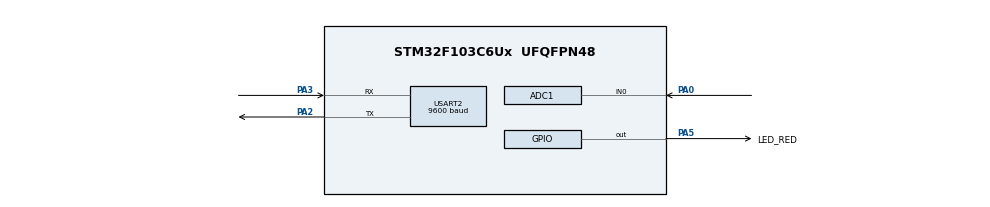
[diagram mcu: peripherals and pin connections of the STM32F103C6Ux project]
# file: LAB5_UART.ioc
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ADC1.Channel-0\#ChannelRegularConversion=ADC_CHANNEL_0
ADC1.ContinuousConvMode=ENABLE
ADC1.NbrOfConversionFlag=1
ADC1.Rank-0\#ChannelRegularConversion=1
ADC1.SamplingTime-0\#ChannelRegularConversion=ADC_SAMPLETIME_1CYCLE_5
ADC1.master=1
Mcu.Family=STM32F1
Mcu.Name=STM32F103C6Ux
Mcu.Package=UFQFPN48
NVIC.PriorityGroup=NVIC_PRIORITYGROUP_4
NVIC.TIM2_IRQn=true\:0\:0\:false\:false\:true\:true\:true
NVIC.USART2_IRQn=true\:0\:0\:false\:false\:true\:true\:true
PA0-WKUP.Signal=ADCx_IN0
PA2.Mode=Asynchronous
PA2.Signal=USART2_TX
PA3.Mode=Asynchronous
PA3.Signal=USART2_RX
PA5.GPIO_Label=LED_RED
PA5.Signal=GPIO_Output
ProjectManager.HeapSize=0x200
ProjectManager.StackSize=0x400
ProjectManager.TargetToolchain=STM32CubeIDE
RCC.APB1Freq_Value=8000000
RCC.APB2Freq_Value=8000000
SH.ADCx_IN0.0=ADC1_IN0,IN0
TIM2.Period=9
TIM2.Prescaler=7999
USART2.BaudRate=9600
USART2.VirtualMode=VM_ASYNC
VP_SYS_VS_ND.Mode=No_Debug
VP_TIM2_VS_ClockSourceINT.Mode=Internal
board=custom

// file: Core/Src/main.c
/* USER CODE BEGIN Header */
/**
  ******************************************************************************
  * @file           : main.c
  * @brief          : Main program body
  ******************************************************************************
  * @attention
  *
  * <h2><center>&copy; Copyright (c) 2025 STMicroelectronics.
  * All rights reserved.</center></h2>
  *
  * This software component is licensed by ST under BSD 3-Clause license,
  * the "License"; You may not use this file except in compliance with the
  * License. You may obtain a copy of the License at:
  *                        opensource.org/licenses/BSD-3-Clause
  *
  ******************************************************************************
  */
/* USER CODE END Header */

#include "main.h"

/* USER CODE BEGIN Includes */
#include "software_timer.h"
#include <global.h>
/* USER CODE END Includes */

ADC_HandleTypeDef hadc1;

TIM_HandleTypeDef htim2;

UART_HandleTypeDef huart2;

void SystemClock_Config(void);
static void MX_GPIO_Init(void);
static void MX_TIM2_Init(void);
static void MX_USART2_UART_Init(void);
static void MX_ADC1_Init(void);

/* USER CODE BEGIN 0 */
void HAL_UART_RxCpltCallback(UART_HandleTypeDef *huart)
{
	if (huart->Instance == USART2)
	{
		// Echo character back
		HAL_UART_Transmit(&huart2, &buffer_character, 1, 50);

		// Set flag to process command only if not already processing
		if (buffer_flag == 0) {
			buffer_flag = 1;
		}
		// Allow UART receive next character without waiting for callback
		HAL_UART_Receive_IT(&huart2, &buffer_character, 1);
	}
}
/* USER CODE END 0 */

int main(void)
{

  /* MCU Configuration--------------------------------------------------------*/

  /* Reset of all peripherals, Initializes the Flash interface and the Systick. */
  HAL_Init();

  /* Configure the system clock */
  SystemClock_Config();

  /* Initialize all configured peripherals */
  MX_GPIO_Init();
  MX_TIM2_Init();
  MX_USART2_UART_Init();
  MX_ADC1_Init();
  /* USER CODE BEGIN 2 */
  HAL_ADC_Start(&hadc1);
  HAL_UART_Receive_IT(&huart2, &buffer_character, 1);
  HAL_TIM_Base_Start_IT(&htim2);
  HAL_GPIO_WritePin(LED_RED_GPIO_Port, LED_RED_Pin, SET);
  setTimer(0,1);
  setTimer(1,1);
  /* USER CODE END 2 */

  /* Infinite loop */
  while (1)
  {
	  if (isTimeExpired(0)){
		  HAL_GPIO_TogglePin(LED_RED_GPIO_Port, LED_RED_Pin);
		  setTimer(0, 50);
	  }

	  if (buffer_flag == 1){
		  command_parser_fsm();
		  buffer_flag = 0;
	  }
	  uart_communication_fsm();
	  HAL_Delay(1);
  }
}

void SystemClock_Config(void)
{
  RCC_OscInitTypeDef RCC_OscInitStruct = {0};
  RCC_ClkInitTypeDef RCC_ClkInitStruct = {0};
  RCC_PeriphCLKInitTypeDef PeriphClkInit = {0};

  /** Initializes the RCC Oscillators according to the specified parameters
  * in the RCC_OscInitTypeDef structure.
  */
  RCC_OscInitStruct.OscillatorType = RCC_OSCILLATORTYPE_HSI;
  RCC_OscInitStruct.HSIState = RCC_HSI_ON;
  RCC_OscInitStruct.HSICalibrationValue = RCC_HSICALIBRATION_DEFAULT;
  RCC_OscInitStruct.PLL.PLLState = RCC_PLL_NONE;
  if (HAL_RCC_OscConfig(&RCC_OscInitStruct) != HAL_OK)
  {
    Error_Handler();
  }
  /** Initializes the CPU, AHB and APB buses clocks
  */
  RCC_ClkInitStruct.ClockType = RCC_CLOCKTYPE_HCLK|RCC_CLOCKTYPE_SYSCLK
                              |RCC_CLOCKTYPE_PCLK1|RCC_CLOCKTYPE_PCLK2;
  RCC_ClkInitStruct.SYSCLKSource = RCC_SYSCLKSOURCE_HSI;
  RCC_ClkInitStruct.AHBCLKDivider = RCC_SYSCLK_DIV1;
  RCC_ClkInitStruct.APB1CLKDivider = RCC_HCLK_DIV1;
  RCC_ClkInitStruct.APB2CLKDivider = RCC_HCLK_DIV1;

  if (HAL_RCC_ClockConfig(&RCC_ClkInitStruct, FLASH_LATENCY_0) != HAL_OK)
  {
    Error_Handler();
  }
  PeriphClkInit.PeriphClockSelection = RCC_PERIPHCLK_ADC;
  PeriphClkInit.AdcClockSelection = RCC_ADCPCLK2_DIV2;
  if (HAL_RCCEx_PeriphCLKConfig(&PeriphClkInit) != HAL_OK)
  {
    Error_Handler();
  }
}

static void MX_ADC1_Init(void)
{

  ADC_ChannelConfTypeDef sConfig = {0};

  /** Common config
  */
  hadc1.Instance = ADC1;
  hadc1.Init.ScanConvMode = ADC_SCAN_DISABLE;
  hadc1.Init.ContinuousConvMode = ENABLE;
  hadc1.Init.DiscontinuousConvMode = DISABLE;
  hadc1.Init.ExternalTrigConv = ADC_SOFTWARE_START;
  hadc1.Init.DataAlign = ADC_DATAALIGN_RIGHT;
  hadc1.Init.NbrOfConversion = 1;
  if (HAL_ADC_Init(&hadc1) != HAL_OK)
  {
    Error_Handler();
  }
  /** Configure Regular Channel
  */
  sConfig.Channel = ADC_CHANNEL_0;
  sConfig.Rank = ADC_REGULAR_RANK_1;
  sConfig.SamplingTime = ADC_SAMPLETIME_1CYCLE_5;
  if (HAL_ADC_ConfigChannel(&hadc1, &sConfig) != HAL_OK)
  {
    Error_Handler();
  }

}

static void MX_TIM2_Init(void)
{

  TIM_ClockConfigTypeDef sClockSourceConfig = {0};
  TIM_MasterConfigTypeDef sMasterConfig = {0};

  htim2.Instance = TIM2;
  htim2.Init.Prescaler = 7999;
  htim2.Init.CounterMode = TIM_COUNTERMODE_UP;
  htim2.Init.Period = 9;
  htim2.Init.ClockDivision = TIM_CLOCKDIVISION_DIV1;
  htim2.Init.AutoReloadPreload = TIM_AUTORELOAD_PRELOAD_DISABLE;
  if (HAL_TIM_Base_Init(&htim2) != HAL_OK)
  {
    Error_Handler();
  }
  sClockSourceConfig.ClockSource = TIM_CLOCKSOURCE_INTERNAL;
  if (HAL_TIM_ConfigClockSource(&htim2, &sClockSourceConfig) != HAL_OK)
  {
    Error_Handler();
  }
  sMasterConfig.MasterOutputTrigger = TIM_TRGO_RESET;
  sMasterConfig.MasterSlaveMode = TIM_MASTERSLAVEMODE_DISABLE;
  if (HAL_TIMEx_MasterConfigSynchronization(&htim2, &sMasterConfig) != HAL_OK)
  {
    Error_Handler();
  }

}

static void MX_USART2_UART_Init(void)
{

  huart2.Instance = USART2;
  huart2.Init.BaudRate = 9600;
  huart2.Init.WordLength = UART_WORDLENGTH_8B;
  huart2.Init.StopBits = UART_STOPBITS_1;
  huart2.Init.Parity = UART_PARITY_NONE;
  huart2.Init.Mode = UART_MODE_TX_RX;
  huart2.Init.HwFlowCtl = UART_HWCONTROL_NONE;
  huart2.Init.OverSampling = UART_OVERSAMPLING_16;
  if (HAL_UART_Init(&huart2) != HAL_OK)
  {
    Error_Handler();
  }

}

static void MX_GPIO_Init(void)
{
  GPIO_InitTypeDef GPIO_InitStruct = {0};

  /* GPIO Ports Clock Enable */
  __HAL_RCC_GPIOA_CLK_ENABLE();

  /*Configure GPIO pin Output Level */
  HAL_GPIO_WritePin(LED_RED_GPIO_Port, LED_RED_Pin, GPIO_PIN_RESET);

  /*Configure GPIO pin : LED_RED_Pin */
  GPIO_InitStruct.Pin = LED_RED_Pin;
  GPIO_InitStruct.Mode = GPIO_MODE_OUTPUT_PP;
  GPIO_InitStruct.Pull = GPIO_NOPULL;
  GPIO_InitStruct.Speed = GPIO_SPEED_FREQ_LOW;
  HAL_GPIO_Init(LED_RED_GPIO_Port, &GPIO_InitStruct);

}

/* USER CODE BEGIN 4 */
void HAL_TIM_PeriodElapsedCallback(TIM_HandleTypeDef *htim)
{
	timerRun();
}
/* USER CODE END 4 */

void Error_Handler(void)
{
  __disable_irq();
  while (1)
  {
  }
}

/************************ (C) COPYRIGHT STMicroelectronics *****END OF FILE****/
